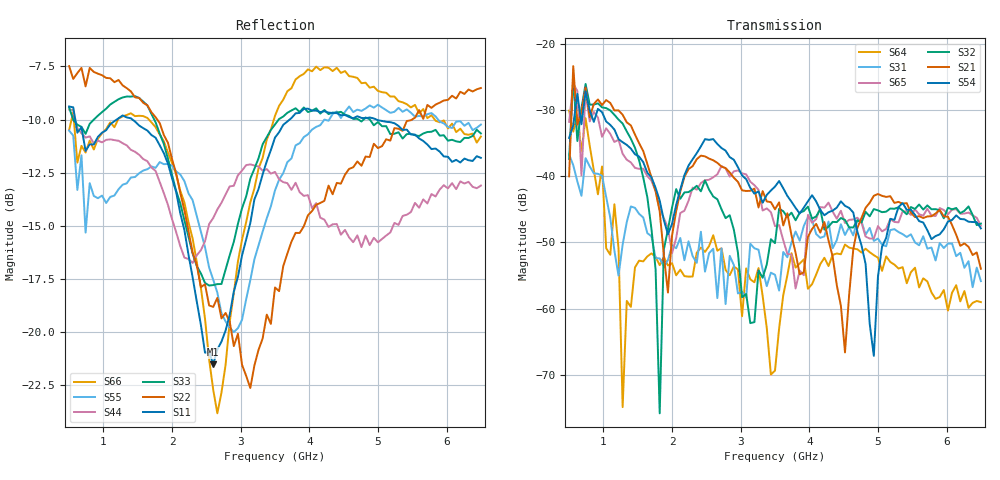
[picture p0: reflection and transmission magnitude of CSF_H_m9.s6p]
!Keysight Technologies,M9804A,MY58100912,A.14.10.03
!Date: Thursday, April 27, 2023 10:28:33
!Correction: S11(C  6-Port  )
!S12(C  6-Port  )
!S13(C  6-Port  )
!S14(C  6-Port  )
!S15(C  6-Port  )
!S16(C  6-Port  )
!S21(C  6-Port  )
!S22(C  6-Port  )
!S23(C  6-Port  )
!S24(C  6-Port  )
!S25(C  6-Port  )
!S26(C  6-Port  )
!S31(C  6-Port  )
!S32(C  6-Port  )
!S33(C  6-Port  )
!S34(C  6-Port  )
!S35(C  6-Port  )
!S36(C  6-Port  )
!S41(C  6-Port  )
!S42(C  6-Port  )
!S43(C  6-Port  )
!S44(C  6-Port  )
!S45(C  6-Port  )
!S46(C  6-Port  )
!S51(C  6-Port  )
!S52(C  6-Port  )
!S53(C  6-Port  )
!S54(C  6-Port  )
!S55(C  6-Port  )
!S56(C  6-Port  )
!S61(C  6-Port  )
!S62(C  6-Port  )
!S63(C  6-Port  )
!S64(C  6-Port  )
!S65(C  6-Port  )
!S66(C  6-Port  )
!S6P File: Measurement: :
# Hz S  RI  R 50
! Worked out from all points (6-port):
!   101 points, 500 MHz to 6.5 GHz, reference 50 ohm
!   strongest paths, dB at 500 MHz, 2 GHz, 3.5 GHz, 5 GHz, 6.5 GHz:
!     S54: -34.2, -47.2, -41.6, -55.2, -47.9
!     S21: -40.0, -48.9, -45.0, -42.7, -54.0
!     S32: -37.4, -44.7, -50.1, -45.2, -47.2
!     S65: -31.8, -51.6, -47.5, -47.5, -47.5
!     S31: -36.7, -50.4, -54.9, -49.4, -55.9
!     S64: -30.1, -53.1, -69.4, -52.3, -59.0
!   lowest |S11| = -21.5 dB at 2.6 GHz (marker M1), VSWR 1.18, Z = 42.5 + j2.18 ohm
!   |S11| at or under -10 dB: 589 MHz to 1.193 GHz (604.1 MHz wide, 67.8 % of centre); 1.423 GHz to 3.714 GHz (2.29 GHz wide, 89.2 % of centre); 4.978 GHz to end of sweep
